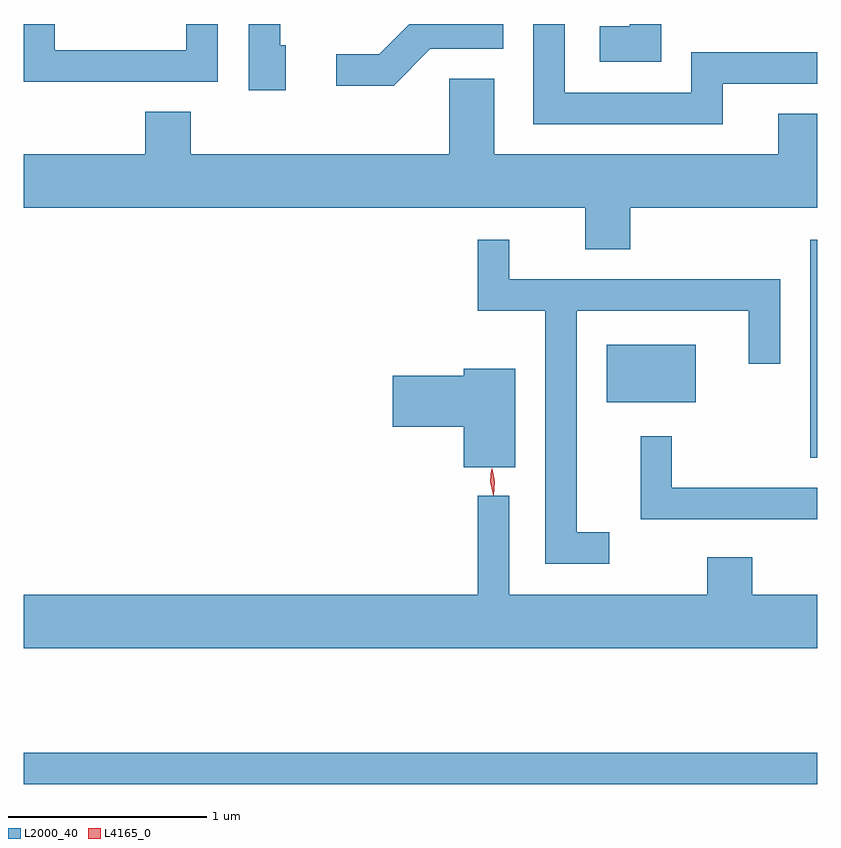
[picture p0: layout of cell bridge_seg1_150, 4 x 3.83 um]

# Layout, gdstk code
import gdstk
lib = gdstk.Library(unit=1e-6, precision=1e-09)
def R(c, l, rs):  # rectangles x0, y0, x1, y1
    for r in rs: c.add(gdstk.rectangle(r[:2], r[2:], *l))
def P(c, l, *ps):  # polygons
    for p in ps: c.add(gdstk.Polygon(p, *l))
L2000_40 = (2000, 40)
L4165_0 = (4165, 0)

bridge_seg1_150 = lib.new_cell('bridge_seg1_150')
R(bridge_seg1_150, L2000_40, [(909.037,923.311,913.037,923.469), (913.001,924.956,913.037,926.053), (911.976,925.236,912.424,925.524)])
P(bridge_seg1_150, L2000_40, [(910.014,927.141),(909.856,927.141),(909.856,927.009),(909.194,927.009),(909.194,927.141),(909.037,927.141),(909.037,926.851),(910.014,926.851)],
  [(910.359,927.034),(910.329,927.034),(910.329,927.141),(910.171,927.141),(910.171,926.806),(910.359,926.806)],
  [(912.559,926.841),(913.037,926.841),(913.037,926.999),(912.401,926.999),(912.401,926.794),(911.764,926.794),(911.764,927.141),(911.606,927.141),(911.606,926.636),(912.559,926.636)],
  [(912.249,927.141),(912.091,927.141),(912.091,927.129),(911.941,927.129),(911.941,926.951),(912.249,926.951)],
  [(911.087,927.016),(911.454,927.016),(911.454,927.141),(910.981,927.141),(910.829,926.989),(910.613,926.989),(910.613,926.831),(910.902,926.831)],
  [(912.094,926.216),(913.037,926.216),(913.037,926.689),(912.841,926.689),(912.841,926.484),(911.409,926.484),(911.409,926.864),(911.181,926.864),(911.181,926.484),(909.879,926.484),(909.879,926.699),(909.651,926.699),(909.651,926.484),(909.037,926.484),(909.037,926.216),(911.866,926.216),(911.866,926.006),(912.094,926.006)],
  [(911.988,924.579),(911.824,924.579),(911.824,925.696),(912.691,925.696),(912.691,925.428),(912.849,925.428),(912.849,925.854),(911.484,925.854),(911.484,926.053),(911.326,926.053),(911.326,925.696),(911.666,925.696),(911.666,924.421),(911.988,924.421)],
  [(911.514,925.404),(911.256,925.404),(911.256,925.369),(910.896,925.369),(910.896,925.111),(911.256,925.111),(911.256,924.906),(911.514,924.906)],
  [(913.037,924.804),(912.304,924.804),(912.304,925.063),(912.146,925.063),(912.146,924.646),(913.037,924.646)],
  [(913.037,924.264),(912.709,924.264),(912.709,924.454),(912.481,924.454),(912.481,924.264),(911.484,924.264),(911.484,924.763),(911.326,924.763),(911.326,924.264),(909.037,924.264),(909.037,923.996),(913.037,923.996)])
P(bridge_seg1_150, L4165_0, [(911.404,924.765),(911.404,924.765),(911.392,924.833),(911.398,924.902),(911.399,924.902),(911.399,924.902),(911.412,924.834),(911.405,924.765)],
  [(911.404,924.768),(911.404,924.769),(911.389,924.833),(911.393,924.898),(911.394,924.899),(911.394,924.898),(911.409,924.834),(911.405,924.769)])

lib.write_gds('bridge_seg1_150.gds')
